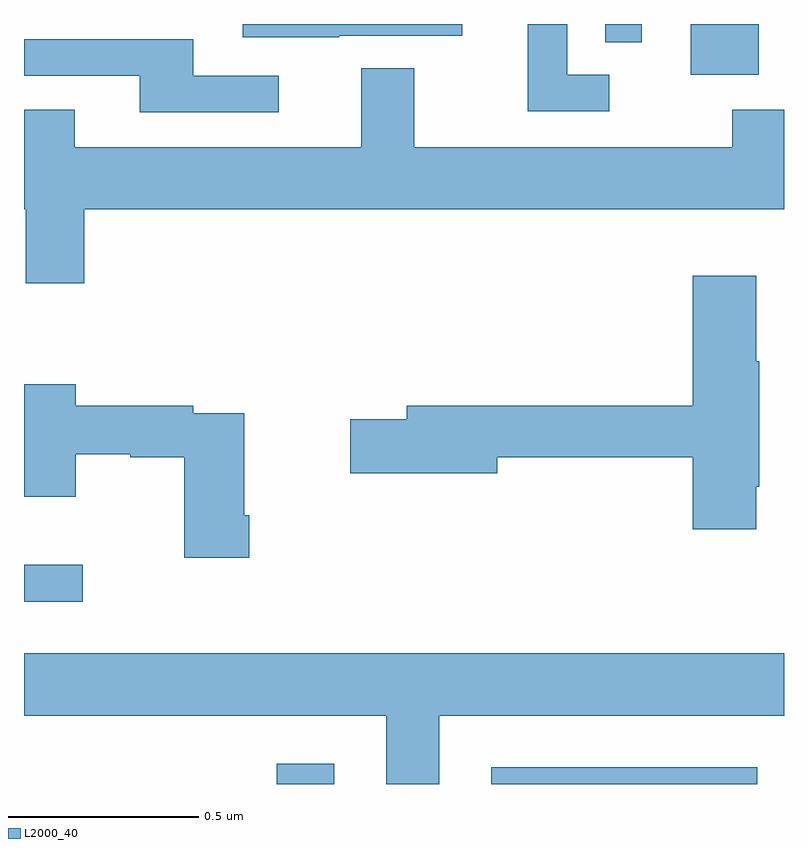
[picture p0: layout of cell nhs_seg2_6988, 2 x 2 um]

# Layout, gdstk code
import gdstk
lib = gdstk.Library(unit=1e-6, precision=1e-09)
def R(c, l, rs):  # rectangles x0, y0, x1, y1
    for r in rs: c.add(gdstk.rectangle(r[:2], r[2:], *l))
def P(c, l, *ps):  # polygons
    for p in ps: c.add(gdstk.Polygon(p, *l))
L2000_40 = (2000, 40)

nhs_seg2_6988 = lib.new_cell('nhs_seg2_6988')
R(nhs_seg2_6988, L2000_40, [(198.665,636.8,198.817,636.853), (199.229,636.8,199.93,636.844), (198,637.28,198.154,637.377), (199.754,638.666,199.933,638.8), (199.53,638.752,199.626,638.8)])
P(nhs_seg2_6988, L2000_40, [(199.54,638.667),(199.429,638.667),(199.429,638.8),(199.325,638.8),(199.325,638.571),(199.54,638.571)],
  [(198.829,638.769),(199.153,638.769),(199.153,638.8),(198.575,638.8),(198.575,638.765),(198.829,638.765)],
  [(198.67,638.664),(198.445,638.664),(198.445,638.76),(198,638.76),(198,638.664),(198.305,638.664),(198.305,638.568),(198.67,638.568)],
  [(198.158,638.312),(200,638.312),(200,638.575),(199.864,638.575),(199.864,638.476),(199.027,638.476),(199.027,638.684),(198.887,638.684),(198.887,638.476),(198.133,638.476),(198.133,638.575),(198,638.575),(198,638.312),(198.005,638.312),(198.005,638.118),(198.158,638.118)],
  [(199.927,637.582),(199.935,637.582),(199.935,637.913),(199.927,637.913),(199.927,638.137),(199.76,638.137),(199.76,637.796),(199.007,637.796),(199.007,637.76),(198.858,637.76),(198.858,637.618),(199.246,637.618),(199.246,637.66),(199.76,637.66),(199.76,637.47),(199.927,637.47)],
  [(198.593,637.507),(198.58,637.507),(198.58,637.776),(198.446,637.776),(198.446,637.796),(198.136,637.796),(198.136,637.852),(198,637.852),(198,637.556),(198.136,637.556),(198.136,637.668),(198.279,637.668),(198.279,637.66),(198.422,637.66),(198.422,637.395),(198.593,637.395)],
  [(199.093,636.98),(200,636.98),(200,637.144),(198,637.144),(198,636.98),(198.953,636.98),(198.953,636.8),(199.093,636.8)])

lib.write_gds('nhs_seg2_6988.gds')
